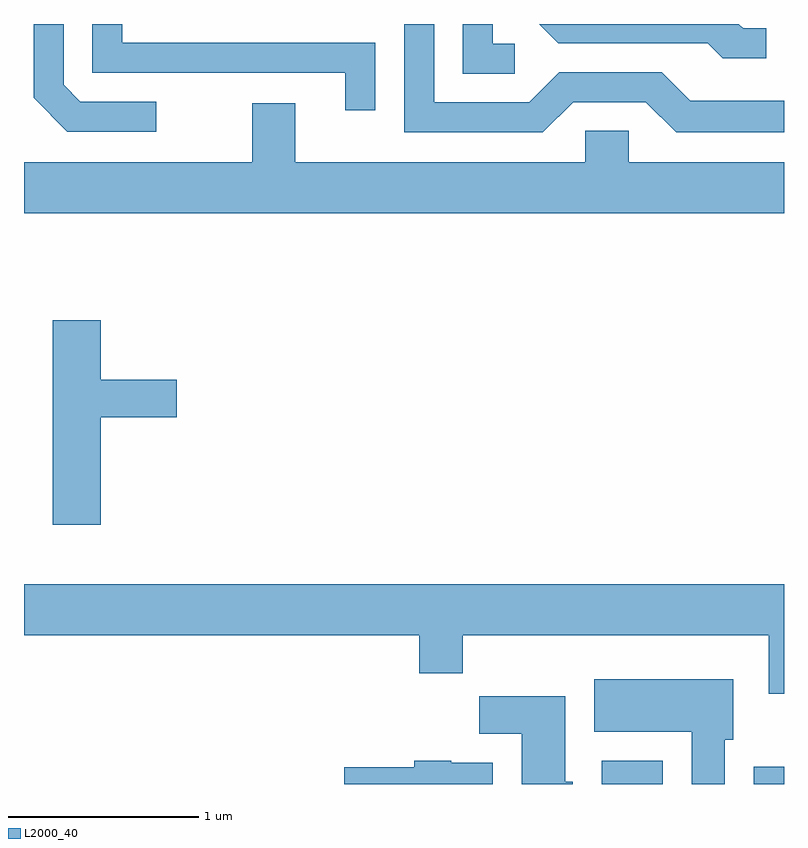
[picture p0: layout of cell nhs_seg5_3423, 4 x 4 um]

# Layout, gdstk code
import gdstk
lib = gdstk.Library(unit=1e-6, precision=1e-09)
def R(c, l, rs):  # rectangles x0, y0, x1, y1
    for r in rs: c.add(gdstk.rectangle(r[:2], r[2:], *l))
def P(c, l, *ps):  # polygons
    for p in ps: c.add(gdstk.Polygon(p, *l))
L2000_40 = (2000, 40)

nhs_seg5_3423 = lib.new_cell('nhs_seg5_3423')
R(nhs_seg5_3423, L2000_40, [(290.651,1396.072,290.974,1396.194), (291.451,1396.072,291.611,1396.164)])
P(nhs_seg5_3423, L2000_40, [(291.518,1400.049),(291.397,1400.049),(291.374,1400.072),(290.323,1400.072),(290.424,1399.971),(291.209,1399.971),(291.289,1399.891),(291.518,1399.891)],
  [(288.308,1399.664),(287.907,1399.664),(287.819,1399.752),(287.819,1400.072),(287.661,1400.072),(287.661,1399.684),(287.839,1399.506),(288.308,1399.506)],
  [(289.459,1399.974),(288.129,1399.974),(288.129,1400.072),(287.971,1400.072),(287.971,1399.816),(289.301,1399.816),(289.301,1399.618),(289.459,1399.618)],
  [(290.502,1399.661),(290.884,1399.661),(291.044,1399.501),(291.611,1399.501),(291.611,1399.669),(291.117,1399.669),(290.967,1399.819),(290.429,1399.819),(290.269,1399.659),(289.769,1399.659),(289.769,1400.072),(289.611,1400.072),(289.611,1399.501),(290.342,1399.501)],
  [(290.193,1399.969),(290.079,1399.969),(290.079,1400.072),(289.921,1400.072),(289.921,1399.811),(290.193,1399.811)],
  [(291.611,1399.344),(290.794,1399.344),(290.794,1399.509),(290.566,1399.509),(290.566,1399.344),(289.039,1399.344),(289.039,1399.654),(288.811,1399.654),(288.811,1399.344),(287.611,1399.344),(287.611,1399.076),(291.611,1399.076)],
  [(288.014,1398.001),(288.414,1398.001),(288.414,1398.199),(288.014,1398.199),(288.014,1398.514),(287.761,1398.514),(287.761,1397.436),(288.014,1397.436)],
  [(291.611,1397.124),(287.611,1397.124),(287.611,1396.856),(289.691,1396.856),(289.691,1396.656),(289.919,1396.656),(289.919,1396.856),(291.531,1396.856),(291.531,1396.546),(291.611,1396.546)],
  [(291.299,1396.306),(291.344,1396.306),(291.344,1396.624),(290.611,1396.624),(290.611,1396.346),(291.126,1396.346),(291.126,1396.072),(291.299,1396.072)],
  [(290.499,1396.084),(290.459,1396.084),(290.459,1396.534),(290.006,1396.534),(290.006,1396.336),(290.231,1396.336),(290.231,1396.072),(290.499,1396.072)],
  [(290.079,1396.184),(289.86,1396.184),(289.86,1396.194),(289.666,1396.194),(289.666,1396.159),(289.296,1396.159),(289.296,1396.072),(290.079,1396.072)])

lib.write_gds('nhs_seg5_3423.gds')
